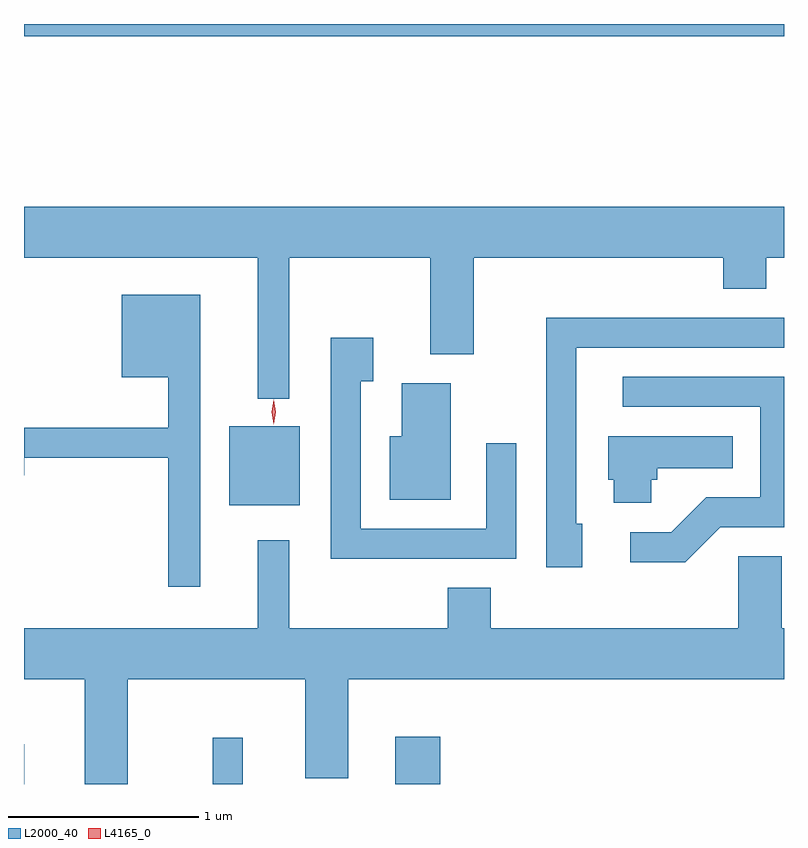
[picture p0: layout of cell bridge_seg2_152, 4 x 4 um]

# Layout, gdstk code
import gdstk
lib = gdstk.Library(unit=1e-6, precision=1e-09)
def R(c, l, rs):  # rectangles x0, y0, x1, y1
    for r in rs: c.add(gdstk.rectangle(r[:2], r[2:], *l))
def P(c, l, *ps):  # polygons
    for p in ps: c.add(gdstk.Polygon(p, *l))
L2000_40 = (2000, 40)
L4165_0 = (4165, 0)

bridge_seg2_152 = lib.new_cell('bridge_seg2_152')
R(bridge_seg2_152, L2000_40, [(698.372,1089.945,698.374,1090.154), (699.366,1089.945,699.524,1090.188), (700.326,1089.945,700.564,1090.194), (699.451,1091.411,699.824,1091.829), (698.372,1093.881,702.372,1093.945)])
P(bridge_seg2_152, L2000_40, [(699.769,1092.716),(700.511,1092.716),(700.511,1092.206),(700.739,1092.206),(700.739,1092.716),(702.051,1092.716),(702.051,1092.551),(702.279,1092.551),(702.279,1092.716),(702.372,1092.716),(702.372,1092.984),(698.372,1092.984),(698.372,1092.716),(699.601,1092.716),(699.601,1091.973),(699.769,1091.973)],
  [(699.299,1092.519),(698.886,1092.519),(698.886,1092.086),(699.131,1092.086),(699.131,1091.819),(698.372,1091.819),(698.372,1091.571),(698.374,1091.571),(698.374,1091.661),(699.131,1091.661),(699.131,1090.983),(699.299,1090.983)],
  [(701.309,1091.314),(701.279,1091.314),(701.279,1092.241),(702.372,1092.241),(702.372,1092.399),(701.121,1092.399),(701.121,1091.086),(701.309,1091.086)],
  [(700.964,1091.738),(700.806,1091.738),(700.806,1091.289),(700.144,1091.289),(700.144,1092.066),(700.209,1092.066),(700.209,1092.294),(699.986,1092.294),(699.986,1091.131),(700.964,1091.131)],
  [(702.037,1091.296),(702.372,1091.296),(702.372,1092.089),(701.523,1092.089),(701.523,1091.931),(702.246,1091.931),(702.246,1091.454),(701.964,1091.454),(701.779,1091.269),(701.563,1091.269),(701.563,1091.111),(701.852,1091.111)],
  [(700.619,1092.054),(700.361,1092.054),(700.361,1091.774),(700.296,1091.774),(700.296,1091.441),(700.619,1091.441)],
  [(701.674,1091.546),(701.704,1091.546),(701.704,1091.606),(702.103,1091.606),(702.103,1091.774),(701.446,1091.774),(701.446,1091.546),(701.476,1091.546),(701.476,1091.426),(701.674,1091.426)],
  [(699.769,1091.228),(699.601,1091.228),(699.601,1090.764),(698.372,1090.764),(698.372,1090.496),(698.691,1090.496),(698.691,1089.945),(698.919,1089.945),(698.919,1090.496),(699.851,1090.496),(699.851,1089.976),(700.079,1089.976),(700.079,1090.496),(702.372,1090.496),(702.372,1090.764),(702.359,1090.764),(702.359,1091.144),(702.131,1091.144),(702.131,1090.764),(700.829,1090.764),(700.829,1090.979),(700.601,1090.979),(700.601,1090.764),(699.769,1090.764)])
P(bridge_seg2_152, L4165_0, [(699.687,1091.838),(699.686,1091.839),(699.677,1091.903),(699.686,1091.967),(699.687,1091.967),(699.687,1091.967),(699.697,1091.903),(699.687,1091.839)])

lib.write_gds('bridge_seg2_152.gds')
